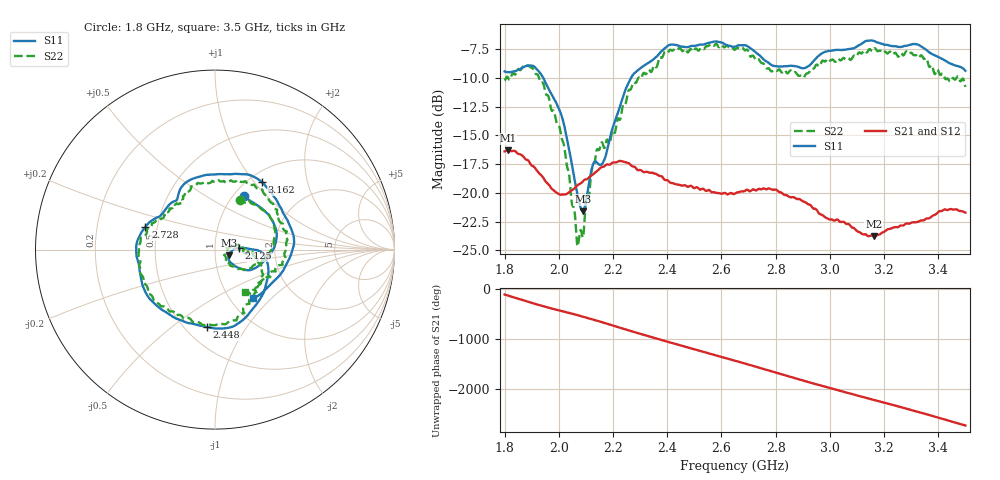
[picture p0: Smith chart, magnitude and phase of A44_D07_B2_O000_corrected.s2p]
! Created with skrf 1.9.0 (http://scikit-rf.org).
# Hz S RI R 50.0
!freq ReS11 ImS11 ReS21 ImS21 ReS12 ImS12 ReS22 ImS22
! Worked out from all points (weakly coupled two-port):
!   1601 points, 1.8 GHz to 3.5 GHz, reference 50 ohm
!   highest |S21| = -16.28 dB at 1.812 GHz (marker M1); lowest = -23.8 dB at 3.162 GHz (marker M2)
!   lowest |S11| = -21.6 dB at 2.088 GHz (marker M3), VSWR 1.18, Z = 58.3 - j3.61 ohm
!   |S11| at or under -10 dB: 1.943 GHz to 2.266 GHz (323.4 MHz wide, 15.4 % of centre)
!   |S22| runs from -24.6 to -7.0 dB; largest |S21 - S12| = 0.0028
!   S11 on the Smith chart (normalised r, x): 1.8 GHz: 1.12, +0.75; 2.125 GHz: 1.30, +0.02; 2.448 GHz: 0.64, -0.68; 2.728 GHz: 0.43, +0.13; 3.162 GHz: 1.15, +1.10; 3.5 GHz: 1.27, -0.77
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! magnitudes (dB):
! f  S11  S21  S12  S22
! 1.8 GHz  -9.4  -16.4  -16.4  -10.2
! 1.812 GHz  -9.5  -16.3  -16.3  -9.9
! 1.881 GHz  -8.9  -17.1  -17.1  -9.0
! 1.941 GHz  -9.9  -18.6  -18.6  -10.4
! 2.013 GHz  -13.5  -20.1  -20.1  -15.4
! 2.067 GHz  -19.9  -19.4  -19.4  -24.3
! 2.084 GHz  -21.5  -19.1  -19.1  -23.4
! 2.088 GHz  -21.6  -19.0  -19.0  -23.9
! 2.125 GHz  -17.6  -18.4  -18.4  -17.8
! 2.167 GHz  -17.2  -17.7  -17.7  -16.1
! 2.206 GHz  -13.8  -17.3  -17.3  -14.8
! 2.266 GHz  -10.0  -17.6  -17.6  -10.9
! 2.367 GHz  -8.0  -18.5  -18.4  -8.5
! 2.448 GHz  -7.3  -19.3  -19.3  -7.4
! 2.65 GHz  -7.3  -20.0  -20.0  -7.5
! 2.728 GHz  -7.8  -19.8  -19.8  -8.4
! 2.797 GHz  -9.0  -19.7  -19.7  -9.3
! 2.934 GHz  -8.7  -21.2  -21.2  -9.2
! 3.162 GHz  -6.8  -23.8  -23.7  -7.5
! 3.217 GHz  -7.2  -23.1  -23.1  -7.8
! 3.324 GHz  -7.1  -22.5  -22.5  -8.2
! 3.5 GHz  -9.4  -21.7  -21.7  -10.8
